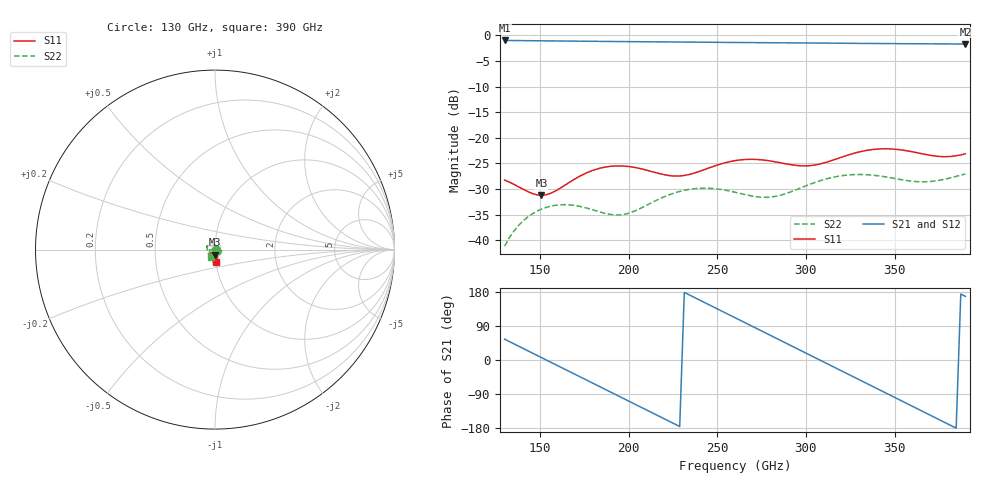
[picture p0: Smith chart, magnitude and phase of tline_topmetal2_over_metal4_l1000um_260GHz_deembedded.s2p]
! Created with skrf 2.0.1 (http://scikit-rf.org).
# GHz S DB R 50.0
!freq dBS11 angS11 dBS21 angS21 dBS12 angS12 dBS22 angS22
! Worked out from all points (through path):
!   101 points, 130 GHz to 390 GHz, reference 50 ohm
!   highest |S21| = -1.01 dB at 130 GHz (marker M1); lowest = -1.7 dB at 390 GHz (marker M2)
!   group delay of S21, straight-line fit = 6.48 ps
!   lowest |S11| = -31.2 dB at 150.8 GHz (marker M3), VSWR 1.06, Z = 49.7 - j2.72 ohm
!   |S11| at or under -10 dB: start of sweep to end of sweep
!   |S22| runs from -41.2 to -27.1 dB; largest |S21 - S12| = 9.5e-14
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130  -28.26 -105.7  -1.01 54.9  -1.01 54.9  -41.18 -25.3
140.4  -30.06 -106.7  -1.04 30.7  -1.04 30.7  -36.26 -54.5
150.8  -31.24 -94.1  -1.08 6.4  -1.08 6.4  -33.94 -86.4
161.2  -29.90 -79.7  -1.11 -17.9  -1.11 -17.9  -33.10 -121.1
174.2  -27.20 -78.8  -1.16 -48.2  -1.16 -48.2  -33.54 -170.7
184.6  -25.89 -85.8  -1.19 -72.4  -1.19 -72.4  -34.58 141.3
195  -25.51 -94.2  -1.22 -96.7  -1.22 -96.7  -35.08 83.8
205.4  -25.94 -100.4  -1.25 -120.9  -1.25 -120.9  -34.00 25.1
218.4  -27.09 -100.6  -1.29 -151.3  -1.29 -151.3  -31.78 -37.7
228.8  -27.47 -93.3  -1.31 -175.5  -1.31 -175.5  -30.48 -81.7
239.2  -26.66 -86.2  -1.34 160.2  -1.34 160.2  -29.89 -123.8
260  -24.48 -88.8  -1.40 111.6  -1.40 111.6  -30.64 147.2
270.4  -24.22 -94.0  -1.43 87.4  -1.43 87.4  -31.43 95.4
280.8  -24.59 -97.5  -1.45 63.1  -1.45 63.1  -31.56 38.4
293.8  -25.38 -95.3  -1.48 32.7  -1.48 32.7  -30.26 -31.1
304.2  -25.38 -88.4  -1.51 8.4  -1.51 8.4  -28.85 -80.4
322.4  -23.53 -82.6  -1.56 -34.1  -1.56 -34.1  -27.32 -158.0
335.4  -22.41 -87.2  -1.59 -64.4  -1.59 -64.4  -27.25 147.7
348.4  -22.20 -93.9  -1.62 -94.8  -1.62 -94.8  -27.85 90.0
358.8  -22.66 -97.3  -1.64 -119.1  -1.64 -119.1  -28.45 39.3
371.8  -23.52 -95.3  -1.67 -149.4  -1.67 -149.4  -28.50 -28.6
390  -23.14 -84.5  -1.71 168.0  -1.71 168.0  -27.08 -119.3
